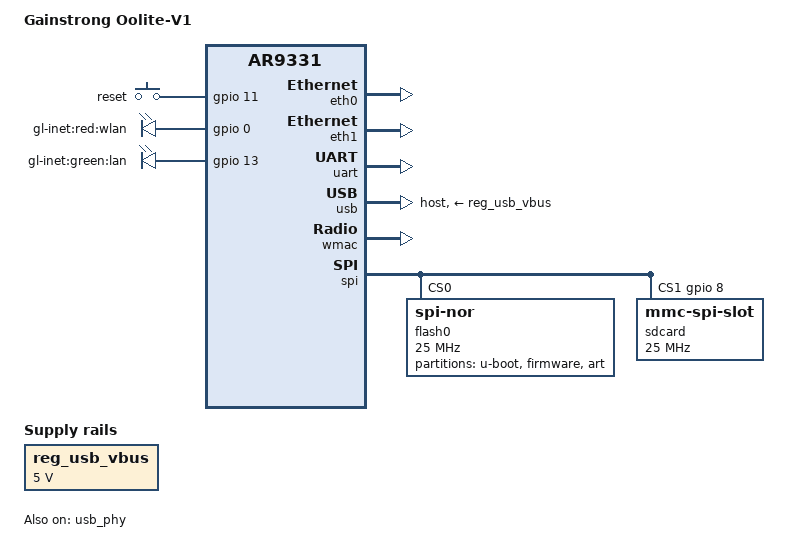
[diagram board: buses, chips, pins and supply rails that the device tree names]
// SPDX-License-Identifier: GPL-2.0-or-later OR MIT
/dts-v1/;

#include <dt-bindings/gpio/gpio.h>
#include <dt-bindings/input/input.h>

#include "ar9331.dtsi"

/ {
	aliases {
		serial0 = &uart;
		label-mac-device = &wmac;
	};

	keys {
		compatible = "gpio-keys";

		reset {
			label = "reset";
			linux,code = <KEY_RESTART>;
			gpios = <&gpio 11 GPIO_ACTIVE_HIGH>;
			debounce-interval = <60>;
		};
	};

	leds {
		compatible = "gpio-leds";

		wlan {
			label = "gl-inet:red:wlan";
			gpios = <&gpio 0 GPIO_ACTIVE_HIGH>;
			linux,default-trigger = "phy0tpt";
		};

		lan {
			label = "gl-inet:green:lan";
			gpios = <&gpio 13 GPIO_ACTIVE_HIGH>;
		};
	};

	reg_usb_vbus: reg_usb_vbus {
		compatible = "regulator-fixed";
		regulator-name = "usb_vbus";
		regulator-min-microvolt = <5000000>;
		regulator-max-microvolt = <5000000>;
		enable-active-high;
	};
};

&eth0 {
	status = "okay";

	mtd-mac-address = <&uboot 0x1fc00>;

	gmac-config {
		device = <&gmac>;

		switch-phy-addr-swap = <0>;
		switch-phy-swap = <0>;
	};
};

&eth1 {
	status = "okay";

	mtd-mac-address = <&uboot 0x1fc00>;
};

&gpio {
	status = "okay";
};

&uart {
	status = "okay";
};

&usb {
	dr_mode = "host";
	vbus-supply = <&reg_usb_vbus>;
	status = "okay";
};

&usb_phy {
	status = "okay";
};

&wmac {
	status = "okay";

	mtd-cal-data = <&art 0x1000>;
	mtd-mac-address = <&uboot 0x1fc00>;
};

/ {
	model = "Gainstrong Oolite-V1";
	compatible = "gainstrong,oolite-v1", "qca,ar9331";
};

&spi {
	status = "okay";

	cs-gpios = <0>, <&gpio 8 GPIO_ACTIVE_HIGH>;
	num-cs = <2>;

	flash0: flash@0 {
		compatible = "jedec,spi-nor";
		reg = <0>;
		spi-max-frequency = <25000000>;

		partitions {
			compatible = "fixed-partitions";
			#address-cells = <1>;
			#size-cells = <1>;

			uboot: partition@0 {
				reg = <0x0 0x20000>;
				label = "u-boot";
				read-only;
			};

			partition@20000 {
				compatible = "tplink,firmware";
				reg = <0x20000 0xfd0000>;
				label = "firmware";
			};

			art: partition@ff0000 {
				reg = <0xff0000 0x10000>;
				label = "art";
				read-only;
			};
		};
	};
	
	sdcard@0 {
		compatible = "mmc-spi-slot";
		reg = <1>;
		spi-max-frequency = <25000000>;
		voltage-ranges = <3200 3400>;
	};
};
